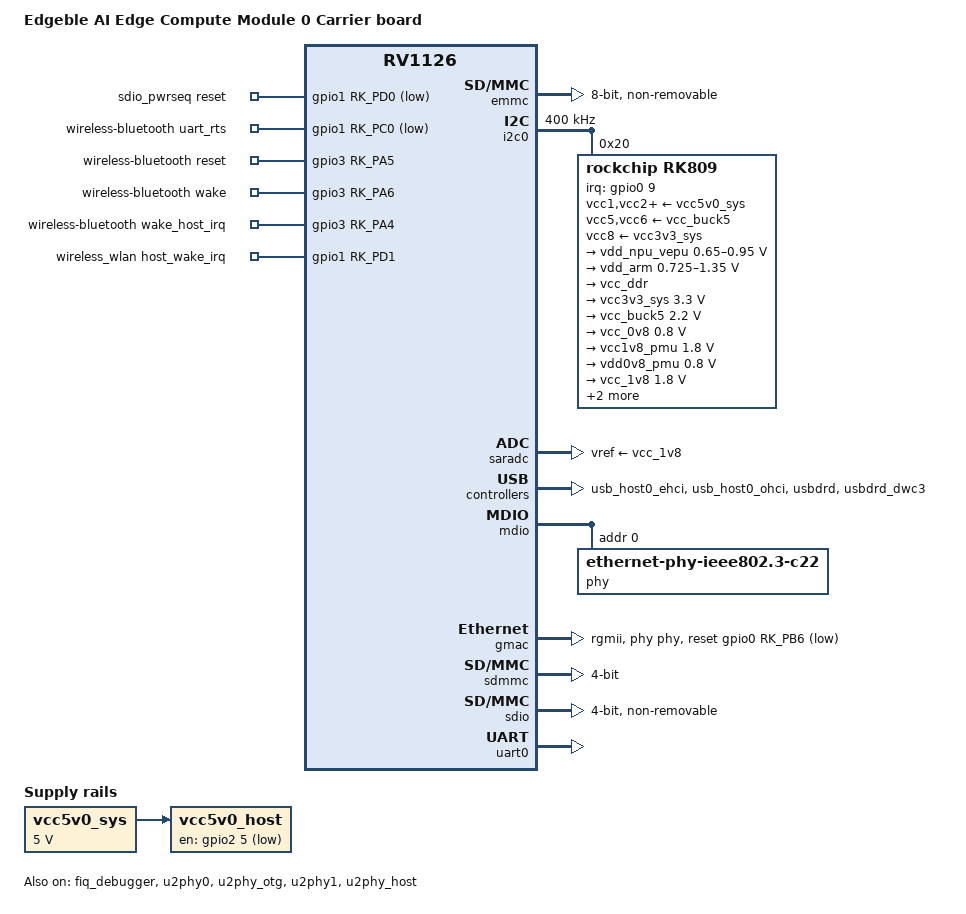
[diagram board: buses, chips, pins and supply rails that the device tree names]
// SPDX-License-Identifier: (GPL-2.0+ OR MIT)
/*
 * Copyright (c) 2020 Rockchip Electronics Co., Ltd.
 * Copyright (c) 2022 Edgeble AI Technologies Pvt Ltd.
 */

/dts-v1/;

#include "rv1126.dtsi"

/ {
	model = "Edgeble AI Edge Compute Module 0 Carrier board";
	compatible = "edgeble,edge-compute-module-0-carrier",
		     "edgeble,edge-compute-module-0", "rockchip,rv1126";

	chosen {
		bootargs = "earlycon=uart8250,mmio32,0xff570000 console=ttyFIQ0 root=PARTUUID=614e0000-0000 rootfstype=ext4 rootwait snd_aloop.index=7";
	};

	vcc5v0_sys: vccsys {
		compatible = "regulator-fixed";
		regulator-name = "vcc5v0_sys";
		regulator-always-on;
		regulator-boot-on;
		regulator-min-microvolt = <5000000>;
		regulator-max-microvolt = <5000000>;
	};

	vcc5v0_host: vcc5v0-host-regulator {
		compatible = "regulator-fixed";
		enable-active-low;
		gpio = <&gpio2 5 GPIO_ACTIVE_LOW>;
		pinctrl-names = "default";
		pinctrl-0 = <&host_vbus_drv>;
		regulator-name = "vcc5v0_host";
		regulator-always-on;
		regulator-boot-on;
		vin-supply = <&vcc5v0_sys>;
	};

	vdd_logic: vdd-logic {
		compatible = "pwm-regulator";
		pwms = <&pwm2 0 5000 1>;
		regulator-name = "vdd_logic";
		regulator-min-microvolt = <725000>;
		regulator-max-microvolt = <875000>;
		regulator-init-microvolt = <825000>;
		regulator-always-on;
		regulator-boot-on;
		regulator-settling-time-up-us = <250>;
		pwm-supply = <&vcc5v0_sys>;
		status = "disabled";
	};

	sdio_pwrseq: sdio-pwrseq {
		compatible = "mmc-pwrseq-simple";
		pinctrl-names = "default";
		pinctrl-0 = <&wifi_enable_h>;

		/*
		 * On the module itself this is one of these (depending
		 * on the actual card populated):
		 * - SDIO_RESET_L_WL_REG_ON
		 * - PDN (power down when low)
		 */
		reset-gpios = <&gpio1 RK_PD0 GPIO_ACTIVE_LOW>;
	};

        wireless-bluetooth {
		compatible = "bluetooth-platdata";
		uart_rts_gpios = <&gpio1 RK_PC0 GPIO_ACTIVE_LOW>;
		pinctrl-names = "default", "rts_gpio";
		pinctrl-0 = <&uart0_rtsn>;
		pinctrl-1 = <&uart0_rtsn_gpio>;
		BT,reset_gpio    = <&gpio3 RK_PA5 GPIO_ACTIVE_HIGH>;
		BT,wake_gpio     = <&gpio3 RK_PA6 GPIO_ACTIVE_HIGH>;
		BT,wake_host_irq = <&gpio3 RK_PA4 GPIO_ACTIVE_HIGH>;
		status = "okay";
        };

	wireless_wlan: wireless-wlan {
		compatible = "wlan-platdata";
		rockchip,grf = <&grf>;
		clocks = <&rk809 1>;
		clock-names = "clk_wifi";
		pinctrl-names = "default";
		pinctrl-0 = <&wifi_wake_host>;
		wifi_chip_type = "ap6255";
		WIFI,host_wake_irq = <&gpio1 RK_PD1 GPIO_ACTIVE_HIGH>;
		status = "okay";
	};
};

&fiq_debugger {
	status = "okay";
};

&emmc {
	bus-width = <8>;
	cap-mmc-highspeed;
	non-removable;
	mmc-hs200-1_8v;
	rockchip,default-sample-phase = <90>;
	supports-emmc;
	/delete-property/ pinctrl-names;
	/delete-property/ pinctrl-0;
	status = "okay";
};

&i2c0 {
	status = "okay";
	clock-frequency = <400000>;

	rk809: pmic@20 {
		compatible = "rockchip,rk809";
		reg = <0x20>;
		interrupt-parent = <&gpio0>;
		interrupts = <9 IRQ_TYPE_LEVEL_LOW>;
		pinctrl-names = "default", "pmic-sleep",
			"pmic-power-off", "pmic-reset";
		pinctrl-0 = <&pmic_int>;
		pinctrl-1 = <&soc_slppin_gpio>, <&rk817_slppin_slp>;
		pinctrl-2 = <&soc_slppin_gpio>, <&rk817_slppin_pwrdn>;
		pinctrl-3 = <&soc_slppin_slp>, <&rk817_slppin_rst>;
		rockchip,system-power-controller;
		wakeup-source;
		#clock-cells = <1>;
		clock-output-names = "rk808-clkout1", "rk808-clkout2";
		/* 0: rst the pmic, 1: rst regs (default in codes) */
		pmic-reset-func = <0>;

		vcc1-supply = <&vcc5v0_sys>;
		vcc2-supply = <&vcc5v0_sys>;
		vcc3-supply = <&vcc5v0_sys>;
		vcc4-supply = <&vcc5v0_sys>;
		vcc5-supply = <&vcc_buck5>;
		vcc6-supply = <&vcc_buck5>;
		vcc7-supply = <&vcc5v0_sys>;
		vcc8-supply = <&vcc3v3_sys>;
		vcc9-supply = <&vcc5v0_sys>;

		pwrkey {
			status = "okay";
		};

		pinctrl_rk8xx: pinctrl_rk8xx {
			gpio-controller;
			#gpio-cells = <2>;

			/omit-if-no-ref/
			rk817_slppin_null: rk817_slppin_null {
				pins = "gpio_slp";
				function = "pin_fun0";
			};

			/omit-if-no-ref/
			rk817_slppin_slp: rk817_slppin_slp {
				pins = "gpio_slp";
				function = "pin_fun1";
			};

			/omit-if-no-ref/
			rk817_slppin_pwrdn: rk817_slppin_pwrdn {
				pins = "gpio_slp";
				function = "pin_fun2";
			};

			/omit-if-no-ref/
			rk817_slppin_rst: rk817_slppin_rst {
				pins = "gpio_slp";
				function = "pin_fun3";
			};
		};

		regulators {
    			vdd_npu_vepu: DCDC_REG1 {
	    			regulator-always-on;
    				regulator-boot-on;
    				regulator-min-microvolt = <650000>;
   	 			regulator-max-microvolt = <950000>;
    				regulator-ramp-delay = <6001>;
    				regulator-initial-mode = <0x2>;
    				regulator-name = "vdd_npu_vepu";
    				regulator-state-mem {
    					regulator-off-in-suspend;
    				};
    			};

			vdd_arm: DCDC_REG2 {
				regulator-always-on;
				regulator-boot-on;
				regulator-min-microvolt = <725000>;
				regulator-max-microvolt = <1350000>;
				regulator-ramp-delay = <6001>;
				regulator-initial-mode = <0x2>;
				regulator-name = "vdd_arm";
				regulator-state-mem {
					regulator-off-in-suspend;
				};
			};

			vcc_ddr: DCDC_REG3 {
				regulator-always-on;
				regulator-boot-on;
				regulator-initial-mode = <0x2>;
				regulator-name = "vcc_ddr";
				regulator-state-mem {
					regulator-on-in-suspend;
				};
			};

			vcc3v3_sys: DCDC_REG4 {
				regulator-always-on;
				regulator-boot-on;
				regulator-min-microvolt = <3300000>;
				regulator-max-microvolt = <3300000>;
				regulator-initial-mode = <0x2>;
				regulator-name = "vcc3v3_sys";
				regulator-state-mem {
					regulator-on-in-suspend;
					regulator-suspend-microvolt = <3300000>;
				};
			};

			vcc_buck5: DCDC_REG5 {
				regulator-always-on;
				regulator-boot-on;
				regulator-min-microvolt = <2200000>;
				regulator-max-microvolt = <2200000>;
				regulator-name = "vcc_buck5";
				regulator-state-mem {
					regulator-on-in-suspend;
					regulator-suspend-microvolt = <2200000>;
				};
			};

			vcc_0v8: LDO_REG1 {
				regulator-always-on;
				regulator-boot-on;
				regulator-min-microvolt = <800000>;
				regulator-max-microvolt = <800000>;
				regulator-name = "vcc_0v8";
				regulator-state-mem {
					regulator-off-in-suspend;
				};
			};

			vcc1v8_pmu: LDO_REG2 {
				regulator-always-on;
				regulator-boot-on;
				regulator-min-microvolt = <1800000>;
				regulator-max-microvolt = <1800000>;
				regulator-name = "vcc1v8_pmu";
				regulator-state-mem {
					regulator-on-in-suspend;
					regulator-suspend-microvolt = <1800000>;
				};
			};

			vdd0v8_pmu: LDO_REG3 {
				regulator-always-on;
				regulator-boot-on;
				regulator-min-microvolt = <800000>;
				regulator-max-microvolt = <800000>;
				regulator-name = "vcc0v8_pmu";
				regulator-state-mem {
					regulator-on-in-suspend;
					regulator-suspend-microvolt = <800000>;
				};
			};

			vcc_1v8: LDO_REG4 {
				regulator-always-on;
				regulator-boot-on;
				regulator-min-microvolt = <1800000>;
				regulator-max-microvolt = <1800000>;
				regulator-name = "vcc_1v8";
				regulator-state-mem {
					regulator-on-in-suspend;
					regulator-suspend-microvolt = <1800000>;
				};
			};

			vcc_dovdd: LDO_REG5 {
				regulator-boot-on;
				regulator-min-microvolt = <1800000>;
				regulator-max-microvolt = <1800000>;
				regulator-name = "vcc_dovdd";
				regulator-state-mem {
					regulator-off-in-suspend;
				};
			};

			vcc_dvdd: LDO_REG6 {
				regulator-min-microvolt = <1200000>;
				regulator-max-microvolt = <1200000>;
				regulator-name = "vcc_dvdd";
				regulator-state-mem {
					regulator-off-in-suspend;
				};
			};

			vcc_avdd: LDO_REG7 {
				regulator-min-microvolt = <2800000>;
				regulator-max-microvolt = <2800000>;
				regulator-name = "vcc_avdd";
				regulator-state-mem {
					regulator-off-in-suspend;
				};
			};

			vccio_sd: LDO_REG8 {
				regulator-always-on;
				regulator-boot-on;
				regulator-min-microvolt = <1800000>;
				regulator-max-microvolt = <3300000>;
				regulator-name = "vccio_sd";
				regulator-state-mem {
					regulator-off-in-suspend;
				};
			};

			vcc3v3_sd: LDO_REG9 {
				regulator-always-on;
				regulator-boot-on;
				regulator-min-microvolt = <3300000>;
				regulator-max-microvolt = <3300000>;
				regulator-name = "vcc3v3_sd";
				regulator-state-mem {
					regulator-off-in-suspend;
				};
			};

			vcc_5v0: SWITCH_REG1 {
				regulator-name = "vcc_5v0";
			};

			vcc_3v3: SWITCH_REG2 {
				regulator-always-on;
				regulator-boot-on;
				regulator-name = "vcc_3v3";
			};
		};
	};
};

&cpu0 {
	cpu-supply = <&vdd_arm>;
};

&cpu_tsadc {
	status = "okay";
};

&pmu_io_domains {
	status = "okay";

	pmuio0-supply = <&vcc1v8_pmu>;
	pmuio1-supply = <&vcc3v3_sys>;
	vccio2-supply = <&vccio_sd>;
	vccio3-supply = <&vcc_1v8>;
	vccio4-supply = <&vcc_dovdd>;
	vccio5-supply = <&vcc_1v8>;
	vccio6-supply = <&vcc_1v8>;
	vccio7-supply = <&vcc_dovdd>;
};

&rockchip_suspend {
	status = "okay";
	rockchip,sleep-debug-en = <1>;
	rockchip,sleep-mode-config = <
		(0
		| RKPM_SLP_ARMOFF
		| RKPM_SLP_PMU_PMUALIVE_32K
		| RKPM_SLP_PMU_DIS_OSC
		| RKPM_SLP_PMIC_LP
		)
	>;
	rockchip,wakeup-config = <
		(0
		| RKPM_GPIO_WKUP_EN
		)
	>;
};

&saradc {
	status = "okay";
	vref-supply = <&vcc_1v8>;
};

&usb_host0_ehci {
	status = "okay";
};

&usb_host0_ohci {
	status = "okay";
};

&u2phy0 {
	status = "okay";
};

&u2phy_otg {
	status = "okay";
};

&u2phy1 {
	status = "okay";
};

&u2phy_host {
	status = "okay";
	phy-supply = <&vcc5v0_host>;
};

&usbdrd {
	status = "okay";
};

&usbdrd_dwc3 {
	status = "okay";
};

&mdio {
	phy: phy@0 {
		compatible = "ethernet-phy-ieee802.3-c22";
		reg = <0x0>;
		clocks = <&cru CLK_GMAC_ETHERNET_OUT>;
	};
};

&gmac {
	phy-mode = "rgmii";
	clock_in_out = "input";

	snps,reset-gpio = <&gpio0 RK_PB6 GPIO_ACTIVE_LOW>;
	snps,reset-active-low;
	/* Reset time is 20ms, 100ms for rtl8211f */
	snps,reset-delays-us = <0 20000 100000>;

	assigned-clocks = <&cru CLK_GMAC_SRC>, <&cru CLK_GMAC_TX_RX>, <&cru CLK_GMAC_ETHERNET_OUT>;
	assigned-clock-parents = <&cru CLK_GMAC_SRC_M1>, <&cru RGMII_MODE_CLK>;
	assigned-clock-rates = <125000000>, <0>, <25000000>;

	pinctrl-names = "default";
	pinctrl-0 = <&rgmiim1_pins &clk_out_ethernetm1_pins>;

	tx_delay = <0x2a>;
	rx_delay = <0x1a>;

	phy-handle = <&phy>;
	status = "okay";
};

&pinctrl {
	pmic {
		/omit-if-no-ref/
		pmic_int: pmic_int {
			rockchip,pins =
				<0 RK_PB1 RK_FUNC_GPIO &pcfg_pull_up>;
		};

		/omit-if-no-ref/
		soc_slppin_gpio: soc_slppin_gpio {
			rockchip,pins =
				<0 RK_PB2 RK_FUNC_GPIO &pcfg_output_low>;
		};

		/omit-if-no-ref/
		soc_slppin_slp: soc_slppin_slp {
			rockchip,pins =
				<0 RK_PB2 RK_FUNC_1 &pcfg_pull_none>;
		};

		/omit-if-no-ref/
		soc_slppin_rst: soc_slppin_rst {
			rockchip,pins =
				<0 RK_PB2 RK_FUNC_2 &pcfg_pull_none>;
		};
	};

	sdio-pwrseq {
		/omit-if-no-ref/
		wifi_enable_h: wifi-enable-h {
			rockchip,pins = <1 RK_PD0 RK_FUNC_GPIO &pcfg_pull_none>;
		};
	};

	usb {
		host_vbus_drv: host-vbus-drv {
			rockchip,pins = <2 RK_PA5 RK_FUNC_GPIO &pcfg_pull_none>;
		};
	};

	wireless-wlan {
		/omit-if-no-ref/
		wifi_wake_host: wifi-wake-host {
			rockchip,pins = <1 RK_PD1 0 &pcfg_pull_up>;
		};
	};
};

&sdmmc {
	bus-width = <4>;
	cap-mmc-highspeed;
	cap-sd-highspeed;
	card-detect-delay = <200>;
	rockchip,default-sample-phase = <90>;
	supports-sd;
	sd-uhs-sdr12;
	sd-uhs-sdr25;
	sd-uhs-sdr104;
	vqmmc-supply = <&vccio_sd>;
	status = "okay";
};

&sdio {
	max-frequency = <200000000>;
	bus-width = <4>;
	cap-sd-highspeed;
	cap-sdio-irq;
	keep-power-in-suspend;
	non-removable;
	rockchip,default-sample-phase = <90>;
	sd-uhs-sdr104;
	supports-sdio;
	mmc-pwrseq = <&sdio_pwrseq>;
	status = "okay";
};

&uart0 {
	pinctrl-names = "default";
	pinctrl-0 = <&uart0_xfer &uart0_ctsn>;
	status = "okay";
};
